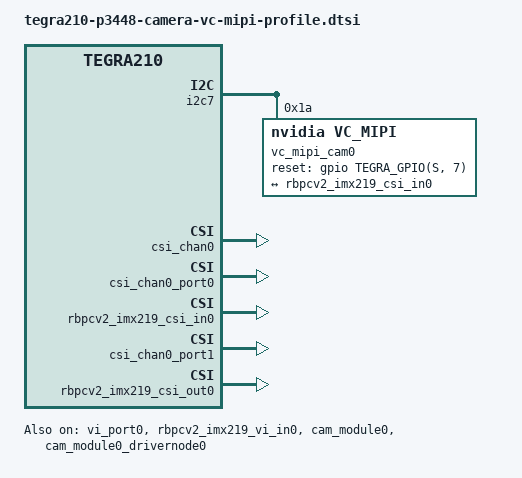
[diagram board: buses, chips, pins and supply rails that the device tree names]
// SPDX-License-Identifier: GPL-2.0
/* Shared P3448/P3449 A02 VC MIPI profile overlay. */

#include <dt-bindings/gpio/gpio.h>
#include <dt-bindings/gpio/tegra-gpio.h>

/ {
	overlay-name = VC_OVERLAY_NAME;
	jetson-header-name = "Jetson Nano CSI Connector";
	compatible = "nvidia,p3449-0000-a02+p3448-0000-a02";
	vc-mipi-profile = "custom";
	vc-mipi-parent = "Camera VC MIPI (Custom)";
	vc-mipi-model = VC_PROFILE_MODEL;

	fragment@0 {
		target = <&i2c7>;
		__overlay__ {
			#address-cells = <1>;
			#size-cells = <0>;

			vc_mipi_cam0: vc_mipi@1a {
				compatible = "nvidia,vc_mipi";
				reg = <0x1a>;
				vc,controller-address = <0x10>;
				vc,sensor-address = <0x1a>;
#ifdef VC_FORCE_MOD_ID
				vc,force-mod-id = <VC_FORCE_MOD_ID>;
#endif
				status = "okay";
				devnode = "video0";
				use_sensor_mode_id = "false";
				sensor_model = "vc_mipi";
				num_lanes = VC_NUM_LANES_STRING;
				trigger_mode = "0";
				io_mode = "0";
				physical_w = VC_PHYSICAL_W;
				physical_h = VC_PHYSICAL_H;
				reset-gpios = <&gpio TEGRA_GPIO(S, 7) GPIO_ACTIVE_HIGH>;

				mode0 {
					num_lanes = VC_NUM_LANES_STRING;
					tegra_sinterface = "serial_a";
					embedded_metadata_height = "0";
					readout_orientation = "0";
					active_l = "0";
					active_t = "0";
					active_w = VC_ACTIVE_W;
					active_h = VC_ACTIVE_H;
					mode_type = "bayer";
					pixel_phase = "rggb";
					csi_pixel_bit_depth = "10";
					pixel_t = "bayer_rggb";
					min_gain_val = "0";
					max_gain_val = VC_MAX_GAIN;
					step_gain_val = VC_STEP_GAIN;
					default_gain = "0";
					min_exp_time = "1";
					max_exp_time = "1000000";
					step_exp_time = "1";
					default_exp_time = "10000";
					min_framerate = "1000";
					max_framerate = VC_MAX_FRAMERATE;
					step_framerate = "100";
					default_framerate = VC_MAX_FRAMERATE;
					gain_factor = "1000";
					exposure_factor = "1000000";
					framerate_factor = "1000";
					inherent_gain = "1";
					min_hdr_ratio = "1";
					max_hdr_ratio = "1";
					line_length = "0";
					phy_mode = "DPHY";
					discontinuous_clk = "no";
					mclk_khz = "24000";
					pix_clk_hz = "800000000";
					mclk_multiplier = "9.33";
					cil_settletime = "0";
					dpcm_enable = "false";
				};

				ports {
					port {
						vc_mipi_out0: endpoint {
							port-index = <0>;
							bus-width = <VC_NUM_LANES>;
							remote-endpoint = <&rbpcv2_imx219_csi_in0>;
						};
					};
				};
			};
		};
	};

	fragment@1 {
		target = <&imx219_single_cam0>;
		__overlay__ { status = "disabled"; };
	};

	fragment@2 {
		target = <&imx477_single_cam0>;
		__overlay__ { status = "disabled"; };
	};

	fragment@3 {
		target = <&vi_base>;
		__overlay__ { num-channels = <1>; };
	};

	fragment@4 {
		target = <&vi_port0>;
		__overlay__ { status = "okay"; };
	};

	fragment@5 {
		target = <&rbpcv2_imx219_vi_in0>;
		__overlay__ {
			status = "okay";
			port-index = <0>;
			bus-width = <VC_NUM_LANES>;
			remote-endpoint = <&rbpcv2_imx219_csi_out0>;
		};
	};

	fragment@6 {
		target = <&csi_base>;
		__overlay__ { num-channels = <1>; };
	};

	fragment@7 {
		target = <&csi_chan0>;
		__overlay__ { status = "okay"; };
	};

	fragment@8 {
		target = <&csi_chan0_port0>;
		__overlay__ { status = "okay"; };
	};

	fragment@9 {
		target = <&rbpcv2_imx219_csi_in0>;
		__overlay__ {
			status = "okay";
			port-index = <0>;
			bus-width = <VC_NUM_LANES>;
			remote-endpoint = <&vc_mipi_out0>;
		};
	};

	fragment@10 {
		target = <&csi_chan0_port1>;
		__overlay__ { status = "okay"; };
	};

	fragment@11 {
		target = <&rbpcv2_imx219_csi_out0>;
		__overlay__ {
			status = "okay";
			remote-endpoint = <&rbpcv2_imx219_vi_in0>;
		};
	};

	fragment@12 {
		target = <&cam_module0>;
		__overlay__ {
			status = "okay";
			badge = VC_CAMERA_BADGE;
			position = "front";
			orientation = "1";
		};
	};

	fragment@13 {
		target = <&cam_module0_drivernode0>;
		__overlay__ {
			status = "okay";
			pcl_id = "v4l2_sensor";
			devname = "vc_mipi 6-001a";
			proc-device-tree = "/proc/device-tree/host1x/i2c@546c0000/vc_mipi@1a";
		};
	};

	fragment@14 {
		target = <&cam_module0_drivernode1>;
		__overlay__ { status = "disabled"; };
	};

	fragment@15 {
		target = <&tcp>;
		__overlay__ {
			num_csi_lanes = <VC_NUM_LANES>;
			max_lane_speed = <1500000>;
			min_bits_per_pixel = <10>;
			vi_peak_byte_per_pixel = <2>;
			vi_bw_margin_pct = <25>;
			max_pixel_rate = <240000>;
			isp_peak_byte_per_pixel = <5>;
			isp_bw_margin_pct = <25>;
		};
	};
};
